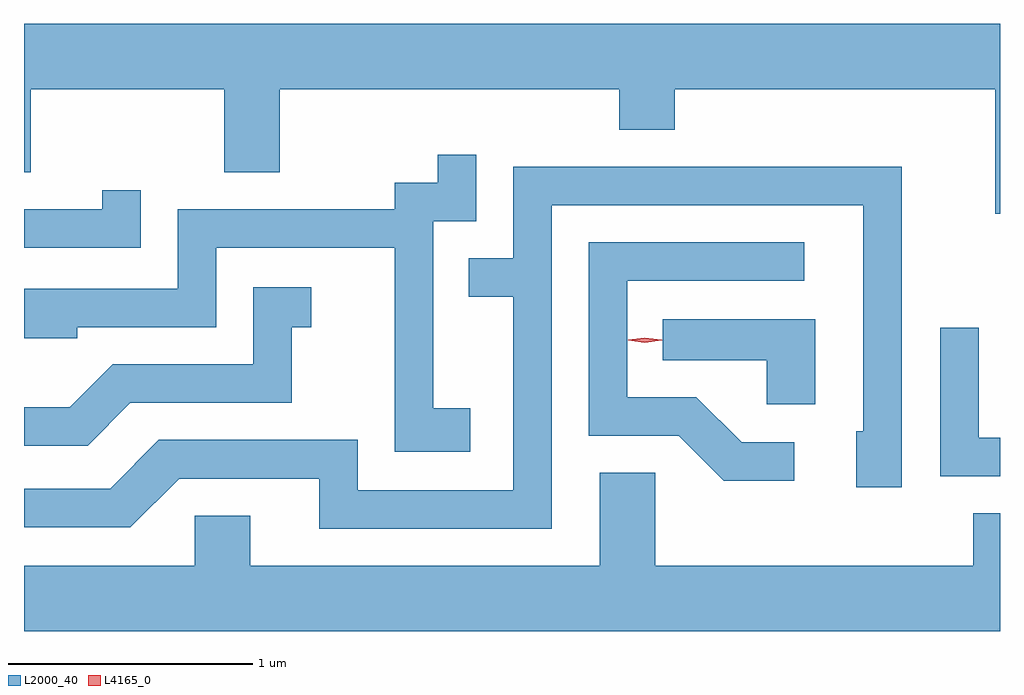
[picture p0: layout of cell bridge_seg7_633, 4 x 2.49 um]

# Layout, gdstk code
import gdstk
lib = gdstk.Library(unit=1e-6, precision=1e-09)
def P(c, l, *ps):  # polygons
    for p in ps: c.add(gdstk.Polygon(p, *l))
L2000_40 = (2000, 40)
L4165_0 = (4165, 0)

bridge_seg7_633 = lib.new_cell('bridge_seg7_633')
P(bridge_seg7_633, L2000_40, [(680.231,1696.824),(676.231,1696.824),(676.231,1696.216),(676.259,1696.216),(676.259,1696.556),(677.051,1696.556),(677.051,1696.216),(677.279,1696.216),(677.279,1696.556),(678.671,1696.556),(678.671,1696.391),(678.899,1696.391),(678.899,1696.556),(680.211,1696.556),(680.211,1696.046),(680.231,1696.046)],
  [(678.059,1695.249),(677.909,1695.249),(677.909,1696.016),(678.084,1696.016),(678.084,1696.288),(677.926,1696.288),(677.926,1696.174),(677.751,1696.174),(677.751,1696.064),(676.861,1696.064),(676.861,1695.739),(676.231,1695.739),(676.231,1695.536),(676.449,1695.536),(676.449,1695.581),(677.019,1695.581),(677.019,1695.906),(677.751,1695.906),(677.751,1695.071),(678.059,1695.071)],
  [(678.394,1696.081),(679.671,1696.081),(679.671,1695.154),(679.641,1695.154),(679.641,1694.926),(679.829,1694.926),(679.829,1696.239),(678.236,1696.239),(678.236,1695.864),(678.053,1695.864),(678.053,1695.706),(678.236,1695.706),(678.236,1694.914),(677.599,1694.914),(677.599,1695.119),(676.784,1695.119),(676.584,1694.919),(676.231,1694.919),(676.231,1694.761),(676.667,1694.761),(676.867,1694.961),(677.441,1694.961),(677.441,1694.756),(678.394,1694.756)],
  [(676.709,1696.143),(676.551,1696.143),(676.551,1696.064),(676.231,1696.064),(676.231,1695.906),(676.709,1695.906)],
  [(679.388,1695.109),(679.172,1695.109),(678.987,1695.294),(678.704,1695.294),(678.704,1695.771),(679.428,1695.771),(679.428,1695.929),(678.546,1695.929),(678.546,1695.136),(678.914,1695.136),(679.099,1694.951),(679.388,1694.951)],
  [(676.667,1695.271),(677.329,1695.271),(677.329,1695.581),(677.408,1695.581),(677.408,1695.744),(677.171,1695.744),(677.171,1695.429),(676.594,1695.429),(676.419,1695.254),(676.231,1695.254),(676.231,1695.096),(676.492,1695.096)],
  [(679.474,1695.614),(678.848,1695.614),(678.848,1695.446),(679.276,1695.446),(679.276,1695.266),(679.474,1695.266)],
  [(680.231,1695.129),(680.144,1695.129),(680.144,1695.578),(679.986,1695.578),(679.986,1694.971),(680.231,1694.971)],
  [(680.231,1694.819),(680.121,1694.819),(680.121,1694.604),(678.819,1694.604),(678.819,1694.984),(678.591,1694.984),(678.591,1694.604),(677.159,1694.604),(677.159,1694.809),(676.931,1694.809),(676.931,1694.604),(676.231,1694.604),(676.231,1694.336),(680.231,1694.336)])
P(bridge_seg7_633, L4165_0, [(678.776,1695.518),(678.707,1695.528),(678.707,1695.528),(678.707,1695.529),(678.776,1695.538),(678.845,1695.529),(678.846,1695.528),(678.845,1695.528)],
  [(678.776,1695.519),(678.71,1695.528),(678.709,1695.529),(678.71,1695.53),(678.776,1695.539),(678.842,1695.53),(678.843,1695.529),(678.842,1695.528)])

lib.write_gds('bridge_seg7_633.gds')
